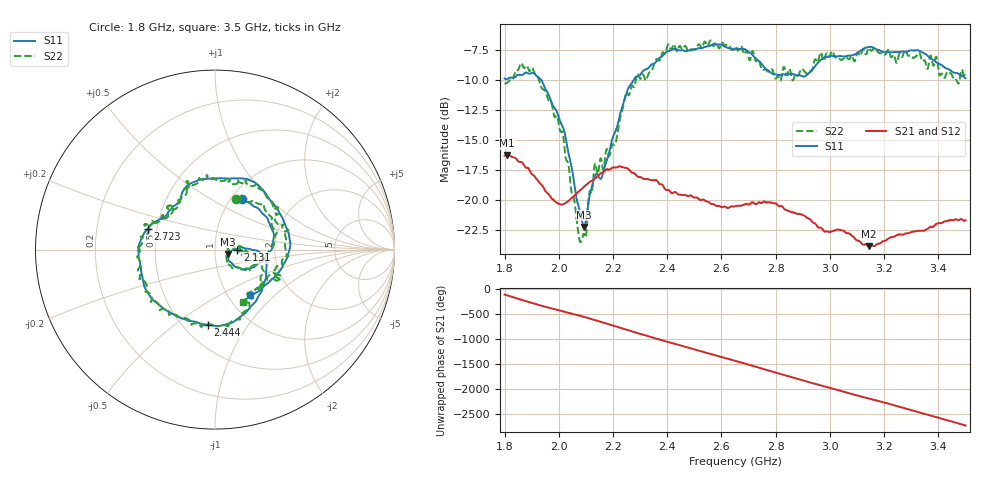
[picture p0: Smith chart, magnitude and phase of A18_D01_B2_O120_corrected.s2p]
! Created with skrf 1.9.0 (http://scikit-rf.org).
# Hz S RI R 50.0
!freq ReS11 ImS11 ReS21 ImS21 ReS12 ImS12 ReS22 ImS22
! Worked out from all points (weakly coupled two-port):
!   1601 points, 1.8 GHz to 3.5 GHz, reference 50 ohm
!   highest |S21| = -16.27 dB at 1.81 GHz (marker M1); lowest = -23.8 dB at 3.144 GHz (marker M2)
!   lowest |S11| = -22.2 dB at 2.093 GHz (marker M3), VSWR 1.17, Z = 57.9 - j2.77 ohm
!   |S11| at or under -10 dB: 1.936 GHz to 2.276 GHz (340.5 MHz wide, 16.2 % of centre)
!   |S22| runs from -23.5 to -6.7 dB; largest |S21 - S12| = 0.003
!   S11 on the Smith chart (normalised r, x): 1.8 GHz: 1.12, +0.71; 2.131 GHz: 1.28, -0.00; 2.444 GHz: 0.65, -0.67; 2.723 GHz: 0.44, +0.12; 3.5 GHz: 1.26, -0.72
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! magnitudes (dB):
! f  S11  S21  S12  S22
! 1.8 GHz  -9.9  -16.3  -16.3  -10.3
! 1.81 GHz  -9.9  -16.3  -16.3  -10.2
! 1.901 GHz  -9.4  -17.9  -17.8  -9.0
! 1.969 GHz  -11.6  -19.7  -19.7  -11.8
! 2.02 GHz  -14.2  -20.3  -20.3  -15.4
! 2.084 GHz  -21.6  -19.1  -19.0  -23.3
! 2.093 GHz  -22.2  -18.9  -18.9  -22.8
! 2.131 GHz  -18.1  -18.2  -18.2  -17.2
! 2.159 GHz  -18.1  -17.7  -17.7  -16.9
! 2.208 GHz  -14.3  -17.3  -17.3  -15.3
! 2.259 GHz  -10.6  -17.5  -17.5  -11.3
! 2.367 GHz  -8.2  -18.5  -18.5  -8.4
! 2.444 GHz  -7.5  -19.5  -19.6  -7.2
! 2.65 GHz  -7.4  -20.5  -20.5  -7.2
! 2.723 GHz  -8.1  -20.3  -20.3  -8.2
! 2.812 GHz  -9.6  -20.5  -20.4  -9.7
! 2.934 GHz  -9.2  -21.8  -21.8  -9.2
! 3.144 GHz  -7.2  -23.8  -23.8  -7.3
! 3.217 GHz  -7.7  -23.2  -23.2  -7.6
! 3.328 GHz  -7.5  -22.6  -22.5  -7.7
! 3.415 GHz  -8.8  -21.9  -21.9  -9.5
! 3.5 GHz  -9.9  -21.7  -21.7  -9.5
